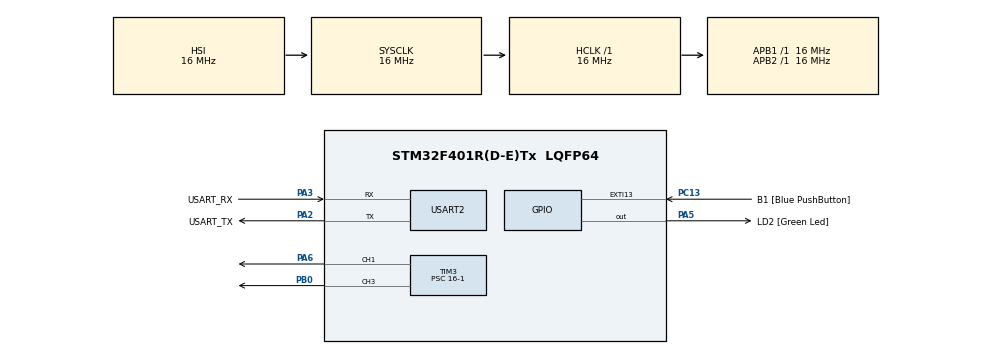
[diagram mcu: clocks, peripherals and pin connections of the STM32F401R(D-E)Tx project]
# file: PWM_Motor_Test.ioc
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Mcu.Family=STM32F4
Mcu.Name=STM32F401R(D-E)Tx
Mcu.Package=LQFP64
NVIC.PriorityGroup=NVIC_PRIORITYGROUP_4
PA13.GPIO_Label=TMS
PA13.Mode=Trace_Asynchronous_SW
PA13.Signal=SYS_JTMS-SWDIO
PA14.GPIO_Label=TCK
PA14.Mode=Trace_Asynchronous_SW
PA14.Signal=SYS_JTCK-SWCLK
PA2.GPIO_Label=USART_TX
PA2.GPIO_Mode=GPIO_MODE_AF_PP
PA2.GPIO_PuPd=GPIO_NOPULL
PA2.GPIO_Speed=GPIO_SPEED_FREQ_LOW
PA2.Mode=Asynchronous
PA2.Signal=USART2_TX
PA3.GPIO_Label=USART_RX
PA3.GPIO_Mode=GPIO_MODE_AF_PP
PA3.GPIO_PuPd=GPIO_NOPULL
PA3.GPIO_Speed=GPIO_SPEED_FREQ_LOW
PA3.Mode=Asynchronous
PA3.Signal=USART2_RX
PA5.GPIO_Label=LD2 [Green Led]
PA5.GPIO_Mode=GPIO_MODE_OUTPUT_PP
PA5.GPIO_PuPd=GPIO_NOPULL
PA5.GPIO_Speed=GPIO_SPEED_FREQ_LOW
PA5.Signal=GPIO_Output
PA6.Signal=S_TIM3_CH1
PB0.Signal=S_TIM3_CH3
PB3.GPIO_Label=SWO
PB3.Mode=Trace_Asynchronous_SW
PB3.Signal=SYS_JTDO-SWO
PC13-ANTI_TAMP.GPIO_Label=B1 [Blue PushButton]
PC13-ANTI_TAMP.GPIO_ModeDefaultEXTI=GPIO_MODE_IT_FALLING
PC13-ANTI_TAMP.GPIO_PuPd=GPIO_NOPULL
PC13-ANTI_TAMP.Signal=GPXTI13
PC14-OSC32_IN.Mode=LSE-External-Oscillator
PC14-OSC32_IN.Signal=RCC_OSC32_IN
PC15-OSC32_OUT.Mode=LSE-External-Oscillator
PC15-OSC32_OUT.Signal=RCC_OSC32_OUT
PH0\ -\ OSC_IN.Mode=HSE-External-Clock-Source
PH0\ -\ OSC_IN.Signal=RCC_OSC_IN
PH1\ -\ OSC_OUT.Mode=HSE-External-Clock-Source
PH1\ -\ OSC_OUT.Signal=RCC_OSC_OUT
ProjectManager.HeapSize=0x200
ProjectManager.StackSize=0x400
ProjectManager.TargetToolchain=STM32CubeIDE
RCC.48MHZClocksFreq_Value=48000000
RCC.AHBFreq_Value=16000000
RCC.APB1Freq_Value=16000000
RCC.APB1TimFreq_Value=16000000
RCC.APB2Freq_Value=16000000
RCC.APB2TimFreq_Value=16000000
RCC.CortexFreq_Value=16000000
RCC.HCLKFreq_Value=16000000
RCC.HSE_VALUE=8000000
RCC.HSI_VALUE=16000000
RCC.PLLN=336
RCC.PLLP=RCC_PLLP_DIV4
RCC.PLLQ=7
RCC.SYSCLKFreq_VALUE=16000000
RCC.VCOOutputFreq_Value=336000000
SH.S_TIM3_CH1.0=TIM3_CH1,PWM Generation1 CH1
SH.S_TIM3_CH3.0=TIM3_CH3,PWM Generation3 CH3
TIM3.AutoReloadPreload=TIM_AUTORELOAD_PRELOAD_ENABLE
TIM3.Channel-PWM\ Generation1\ CH1=TIM_CHANNEL_1
TIM3.Channel-PWM\ Generation3\ CH3=TIM_CHANNEL_3
TIM3.Period=2000-1
TIM3.Prescaler=16-1
TIM3.Pulse-PWM\ Generation1\ CH1=1200-1
USART2.VirtualMode=VM_ASYNC
VP_TIM3_VS_ClockSourceINT.Mode=Internal
board=NUCLEO-F401RE

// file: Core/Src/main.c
/* USER CODE BEGIN Header */
/**
  ******************************************************************************
  * @file           : main.c
  * @brief          : Main program body
  ******************************************************************************
  * @attention
  *
  * Copyright (c) 2025 STMicroelectronics.
  * All rights reserved.
  *
  * This software is licensed under terms that can be found in the LICENSE file
  * in the root directory of this software component.
  * If no LICENSE file comes with this software, it is provided AS-IS.
  *
  ******************************************************************************
  */
/* USER CODE END Header */
#include "main.h"

TIM_HandleTypeDef htim3;

UART_HandleTypeDef huart2;

void SystemClock_Config(void);
static void MX_GPIO_Init(void);
static void MX_USART2_UART_Init(void);
static void MX_TIM3_Init(void);

int main(void)
{

  /* MCU Configuration--------------------------------------------------------*/

  /* Reset of all peripherals, Initializes the Flash interface and the Systick. */
  HAL_Init();

  /* Configure the system clock */
  SystemClock_Config();

  /* Initialize all configured peripherals */
  MX_GPIO_Init();
  MX_USART2_UART_Init();
  MX_TIM3_Init();
  /* USER CODE BEGIN 2 */
  HAL_TIM_Base_Init(&htim3);
  HAL_TIM_PWM_Start(&htim3, TIM_CHANNEL_1);
  HAL_TIM_PWM_Start(&htim3, TIM_CHANNEL_3);

  TIM3 -> PSC = 16 - 1;
  TIM3 -> ARR = 2000 - 1;
  TIM3 -> CCR1 = 1200 - 1;
  TIM3 -> CCR3 = 0;

  int TIM3_Ch1_DCVAL = 0;
  int TIM3_Ch3_DCVAL = 0;
  /* USER CODE END 2 */

  /* Infinite loop */
  /* USER CODE BEGIN WHILE */
  while (1)
  {
	  while(TIM3_Ch1_DCVAL < 2000) {
		  TIM3_Ch1_DCVAL += (200);
		  TIM3 -> CCR1 = TIM3_Ch1_DCVAL;
		  HAL_Delay(5000);
	  }

	  while(TIM3_Ch1_DCVAL > 0) {
		  TIM3_Ch1_DCVAL -= (200);
		  TIM3 -> CCR1 = TIM3_Ch1_DCVAL;
		  HAL_Delay(5000);
	  }

	  while(TIM3_Ch3_DCVAL < 2000) {
		 TIM3_Ch3_DCVAL += (200);
		 TIM3 -> CCR3 = TIM3_Ch3_DCVAL;
		 HAL_Delay(5000);
	  }

	  while(TIM3_Ch3_DCVAL > 0) {
		  TIM3_Ch3_DCVAL -= (200);
		  TIM3 -> CCR3 = TIM3_Ch3_DCVAL;
		  HAL_Delay(5000);
	  }
    /* USER CODE END WHILE */

  }
}

void SystemClock_Config(void)
{
  RCC_OscInitTypeDef RCC_OscInitStruct = {0};
  RCC_ClkInitTypeDef RCC_ClkInitStruct = {0};

  /** Configure the main internal regulator output voltage
  */
  __HAL_RCC_PWR_CLK_ENABLE();
  __HAL_PWR_VOLTAGESCALING_CONFIG(PWR_REGULATOR_VOLTAGE_SCALE2);

  /** Initializes the RCC Oscillators according to the specified parameters
  * in the RCC_OscInitTypeDef structure.
  */
  RCC_OscInitStruct.OscillatorType = RCC_OSCILLATORTYPE_HSI;
  RCC_OscInitStruct.HSIState = RCC_HSI_ON;
  RCC_OscInitStruct.HSICalibrationValue = RCC_HSICALIBRATION_DEFAULT;
  RCC_OscInitStruct.PLL.PLLState = RCC_PLL_NONE;
  if (HAL_RCC_OscConfig(&RCC_OscInitStruct) != HAL_OK)
  {
    Error_Handler();
  }

  /** Initializes the CPU, AHB and APB buses clocks
  */
  RCC_ClkInitStruct.ClockType = RCC_CLOCKTYPE_HCLK|RCC_CLOCKTYPE_SYSCLK
                              |RCC_CLOCKTYPE_PCLK1|RCC_CLOCKTYPE_PCLK2;
  RCC_ClkInitStruct.SYSCLKSource = RCC_SYSCLKSOURCE_HSI;
  RCC_ClkInitStruct.AHBCLKDivider = RCC_SYSCLK_DIV1;
  RCC_ClkInitStruct.APB1CLKDivider = RCC_HCLK_DIV1;
  RCC_ClkInitStruct.APB2CLKDivider = RCC_HCLK_DIV1;

  if (HAL_RCC_ClockConfig(&RCC_ClkInitStruct, FLASH_LATENCY_0) != HAL_OK)
  {
    Error_Handler();
  }
}

static void MX_TIM3_Init(void)
{

  TIM_ClockConfigTypeDef sClockSourceConfig = {0};
  TIM_MasterConfigTypeDef sMasterConfig = {0};
  TIM_OC_InitTypeDef sConfigOC = {0};

  htim3.Instance = TIM3;
  htim3.Init.Prescaler = 16-1;
  htim3.Init.CounterMode = TIM_COUNTERMODE_UP;
  htim3.Init.Period = 2000-1;
  htim3.Init.ClockDivision = TIM_CLOCKDIVISION_DIV1;
  htim3.Init.AutoReloadPreload = TIM_AUTORELOAD_PRELOAD_ENABLE;
  if (HAL_TIM_Base_Init(&htim3) != HAL_OK)
  {
    Error_Handler();
  }
  sClockSourceConfig.ClockSource = TIM_CLOCKSOURCE_INTERNAL;
  if (HAL_TIM_ConfigClockSource(&htim3, &sClockSourceConfig) != HAL_OK)
  {
    Error_Handler();
  }
  if (HAL_TIM_PWM_Init(&htim3) != HAL_OK)
  {
    Error_Handler();
  }
  sMasterConfig.MasterOutputTrigger = TIM_TRGO_RESET;
  sMasterConfig.MasterSlaveMode = TIM_MASTERSLAVEMODE_DISABLE;
  if (HAL_TIMEx_MasterConfigSynchronization(&htim3, &sMasterConfig) != HAL_OK)
  {
    Error_Handler();
  }
  sConfigOC.OCMode = TIM_OCMODE_PWM1;
  sConfigOC.Pulse = 1200-1;
  sConfigOC.OCPolarity = TIM_OCPOLARITY_HIGH;
  sConfigOC.OCFastMode = TIM_OCFAST_DISABLE;
  if (HAL_TIM_PWM_ConfigChannel(&htim3, &sConfigOC, TIM_CHANNEL_1) != HAL_OK)
  {
    Error_Handler();
  }
  sConfigOC.Pulse = 0;
  if (HAL_TIM_PWM_ConfigChannel(&htim3, &sConfigOC, TIM_CHANNEL_3) != HAL_OK)
  {
    Error_Handler();
  }
  HAL_TIM_MspPostInit(&htim3);

}

static void MX_USART2_UART_Init(void)
{

  huart2.Instance = USART2;
  huart2.Init.BaudRate = 115200;
  huart2.Init.WordLength = UART_WORDLENGTH_8B;
  huart2.Init.StopBits = UART_STOPBITS_1;
  huart2.Init.Parity = UART_PARITY_NONE;
  huart2.Init.Mode = UART_MODE_TX_RX;
  huart2.Init.HwFlowCtl = UART_HWCONTROL_NONE;
  huart2.Init.OverSampling = UART_OVERSAMPLING_16;
  if (HAL_UART_Init(&huart2) != HAL_OK)
  {
    Error_Handler();
  }

}

static void MX_GPIO_Init(void)
{
  GPIO_InitTypeDef GPIO_InitStruct = {0};

  /* GPIO Ports Clock Enable */
  __HAL_RCC_GPIOC_CLK_ENABLE();
  __HAL_RCC_GPIOH_CLK_ENABLE();
  __HAL_RCC_GPIOA_CLK_ENABLE();
  __HAL_RCC_GPIOB_CLK_ENABLE();

  /*Configure GPIO pin Output Level */
  HAL_GPIO_WritePin(LD2_GPIO_Port, LD2_Pin, GPIO_PIN_RESET);

  /*Configure GPIO pin : B1_Pin */
  GPIO_InitStruct.Pin = B1_Pin;
  GPIO_InitStruct.Mode = GPIO_MODE_IT_FALLING;
  GPIO_InitStruct.Pull = GPIO_NOPULL;
  HAL_GPIO_Init(B1_GPIO_Port, &GPIO_InitStruct);

  /*Configure GPIO pin : LD2_Pin */
  GPIO_InitStruct.Pin = LD2_Pin;
  GPIO_InitStruct.Mode = GPIO_MODE_OUTPUT_PP;
  GPIO_InitStruct.Pull = GPIO_NOPULL;
  GPIO_InitStruct.Speed = GPIO_SPEED_FREQ_LOW;
  HAL_GPIO_Init(LD2_GPIO_Port, &GPIO_InitStruct);

}

void Error_Handler(void)
{
  __disable_irq();
  while (1)
  {
  }
}
